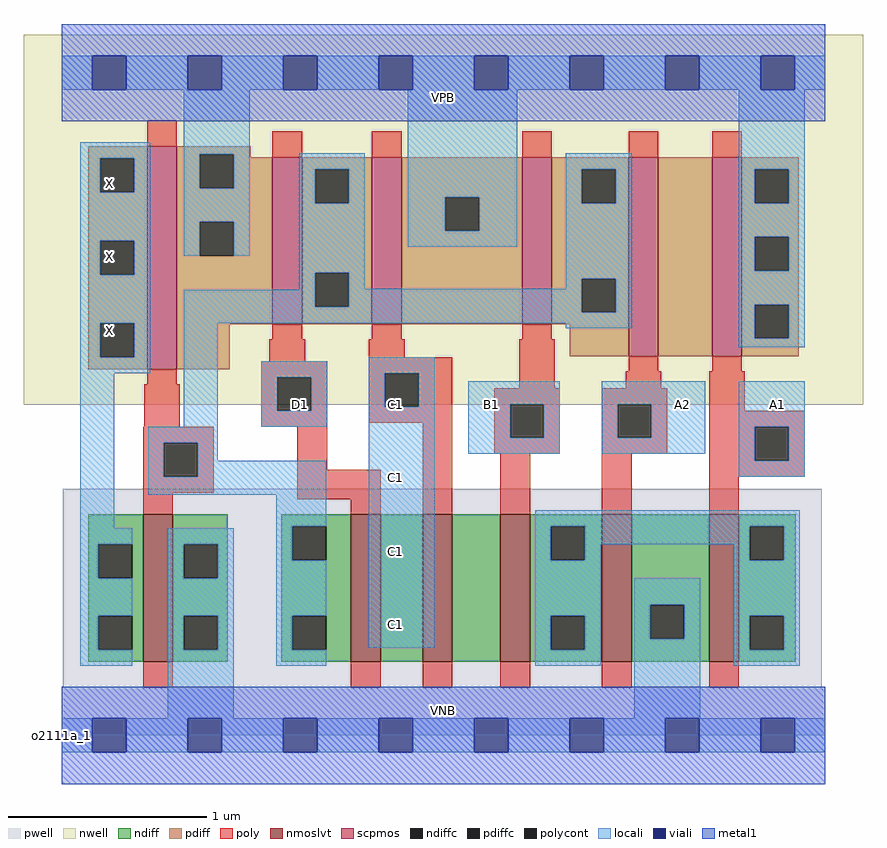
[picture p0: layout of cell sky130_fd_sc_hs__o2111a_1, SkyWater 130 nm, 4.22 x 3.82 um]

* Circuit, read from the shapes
.subckt sky130_fd_sc_hs__o2111a_1 A1 A2 B1 C1 D1 VGND VNB VPB VPWR X
XM1 VGND n1 X VNB sky130_fd_pr__nfet_01v8_lvt w=0.74 l=0.15
XM2 n2 D1 n1 VNB sky130_fd_pr__nfet_01v8_lvt w=0.74 l=0.15
XM3 n3 C1 n2 VNB sky130_fd_pr__nfet_01v8_lvt w=0.74 l=0.15
XM4 n4 B1 n3 VNB sky130_fd_pr__nfet_01v8_lvt w=0.74 l=0.15
XM5 VGND A2 n4 VNB sky130_fd_pr__nfet_01v8_lvt w=0.74 l=0.15
XM6 n4 A1 VGND VNB sky130_fd_pr__nfet_01v8_lvt w=0.74 l=0.15
XM7 VPWR n1 X VPB sky130_fd_pr__pfet_01v8 w=1.12 l=0.15
XM8 n1 D1 VPWR VPB sky130_fd_pr__pfet_01v8 w=0.84 l=0.15
XM9 VPWR C1 n1 VPB sky130_fd_pr__pfet_01v8 w=0.84 l=0.15
XM10 n1 B1 VPWR VPB sky130_fd_pr__pfet_01v8 w=0.84 l=0.15
XM11 n5 A2 n1 VPB sky130_fd_pr__pfet_01v8 w=1 l=0.15
XM12 VPWR A1 n5 VPB sky130_fd_pr__pfet_01v8 w=1 l=0.15
.ends

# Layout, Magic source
magic
tech sky130A
magscale 1 2
<< nwell >>
rect -38 332 806 704
<< pwell >>
rect 1 49 764 248
rect 0 0 768 49
<< scpmos >>
rect 86 368 116 592
rect 212 413 242 581
rect 312 413 342 581
rect 463 413 493 581
rect 570 381 600 581
rect 654 381 684 581
<< nmoslvt >>
rect 82 74 112 222
rect 291 74 321 222
rect 363 74 393 222
rect 441 74 471 222
rect 543 74 573 222
rect 651 74 681 222
<< ndiff >>
rect 27 192 82 222
rect 27 158 37 192
rect 71 158 82 192
rect 27 120 82 158
rect 27 86 37 120
rect 71 86 82 120
rect 27 74 82 86
rect 112 192 167 222
rect 112 158 123 192
rect 157 158 167 192
rect 112 120 167 158
rect 112 86 123 120
rect 157 86 167 120
rect 112 74 167 86
rect 221 210 291 222
rect 221 176 232 210
rect 266 176 291 210
rect 221 120 291 176
rect 221 86 232 120
rect 266 86 291 120
rect 221 74 291 86
rect 321 74 363 222
rect 393 74 441 222
rect 471 210 543 222
rect 471 176 492 210
rect 526 176 543 210
rect 471 120 543 176
rect 471 86 492 120
rect 526 86 543 120
rect 471 74 543 86
rect 573 131 651 222
rect 573 97 592 131
rect 626 97 651 131
rect 573 74 651 97
rect 681 210 738 222
rect 681 176 692 210
rect 726 176 738 210
rect 681 120 738 176
rect 681 86 692 120
rect 726 86 738 120
rect 681 74 738 86
<< pdiff >>
rect 27 580 86 592
rect 27 546 39 580
rect 73 546 86 580
rect 27 497 86 546
rect 27 463 39 497
rect 73 463 86 497
rect 27 414 86 463
rect 27 380 39 414
rect 73 380 86 414
rect 27 368 86 380
rect 116 584 190 592
rect 116 550 139 584
rect 173 581 190 584
rect 173 550 212 581
rect 116 516 212 550
rect 116 482 139 516
rect 173 482 212 516
rect 116 413 212 482
rect 242 569 312 581
rect 242 535 255 569
rect 289 535 312 569
rect 242 465 312 535
rect 242 431 255 465
rect 289 431 312 465
rect 242 413 312 431
rect 342 541 463 581
rect 342 507 386 541
rect 420 507 463 541
rect 342 413 463 507
rect 493 569 570 581
rect 493 535 523 569
rect 557 535 570 569
rect 493 459 570 535
rect 493 425 523 459
rect 557 425 570 459
rect 493 413 570 425
rect 116 368 169 413
rect 511 381 570 413
rect 600 381 654 581
rect 684 569 741 581
rect 684 535 697 569
rect 731 535 741 569
rect 684 501 741 535
rect 684 467 697 501
rect 731 467 741 501
rect 684 433 741 467
rect 684 399 697 433
rect 731 399 741 433
rect 684 381 741 399
<< ndiffc >>
rect 37 158 71 192
rect 37 86 71 120
rect 123 158 157 192
rect 123 86 157 120
rect 232 176 266 210
rect 232 86 266 120
rect 492 176 526 210
rect 492 86 526 120
rect 592 97 626 131
rect 692 176 726 210
rect 692 86 726 120
<< pdiffc >>
rect 39 546 73 580
rect 39 463 73 497
rect 39 380 73 414
rect 139 550 173 584
rect 139 482 173 516
rect 255 535 289 569
rect 255 431 289 465
rect 386 507 420 541
rect 523 535 557 569
rect 523 425 557 459
rect 697 535 731 569
rect 697 467 731 501
rect 697 399 731 433
<< poly >>
rect 86 592 116 618
rect 212 581 242 607
rect 312 581 342 607
rect 463 581 493 607
rect 570 581 600 607
rect 654 581 684 607
rect 212 398 242 413
rect 312 398 342 413
rect 463 398 493 413
rect 209 376 245 398
rect 309 380 345 398
rect 86 353 116 368
rect 201 360 267 376
rect 83 310 119 353
rect 201 326 217 360
rect 251 326 267 360
rect 201 310 267 326
rect 309 364 393 380
rect 309 330 325 364
rect 359 330 393 364
rect 460 349 496 398
rect 570 366 600 381
rect 654 366 684 381
rect 567 349 603 366
rect 309 314 393 330
rect 82 294 153 310
rect 82 260 103 294
rect 137 260 153 294
rect 82 244 153 260
rect 237 267 267 310
rect 82 222 112 244
rect 237 237 321 267
rect 291 222 321 237
rect 363 222 393 314
rect 435 333 501 349
rect 435 299 451 333
rect 485 299 501 333
rect 435 283 501 299
rect 543 333 609 349
rect 543 299 559 333
rect 593 299 609 333
rect 543 283 609 299
rect 651 326 687 366
rect 651 310 747 326
rect 441 222 471 283
rect 543 222 573 283
rect 651 276 697 310
rect 731 276 747 310
rect 651 260 747 276
rect 651 222 681 260
rect 82 48 112 74
rect 291 48 321 74
rect 363 48 393 74
rect 441 48 471 74
rect 543 48 573 74
rect 651 48 681 74
<< polycont >>
rect 217 326 251 360
rect 325 330 359 364
rect 103 260 137 294
rect 451 299 485 333
rect 559 299 593 333
rect 697 276 731 310
<< locali >>
rect 0 649 31 683
rect 65 649 127 683
rect 161 649 223 683
rect 257 649 319 683
rect 353 649 415 683
rect 449 649 511 683
rect 545 649 607 683
rect 641 649 703 683
rect 737 649 768 683
rect 19 580 89 596
rect 19 546 39 580
rect 73 546 89 580
rect 19 497 89 546
rect 19 463 39 497
rect 73 463 89 497
rect 123 584 189 649
rect 123 550 139 584
rect 173 550 189 584
rect 123 516 189 550
rect 123 482 139 516
rect 173 482 189 516
rect 239 569 305 585
rect 239 535 255 569
rect 289 535 305 569
rect 19 414 89 463
rect 239 465 305 535
rect 348 541 458 649
rect 348 507 386 541
rect 420 507 458 541
rect 348 491 458 507
rect 507 569 573 585
rect 507 535 523 569
rect 557 535 573 569
rect 239 448 255 465
rect 19 380 39 414
rect 73 380 89 414
rect 19 364 89 380
rect 123 431 255 448
rect 289 449 305 465
rect 507 459 573 535
rect 507 449 523 459
rect 289 431 523 449
rect 123 425 523 431
rect 557 425 573 459
rect 123 414 573 425
rect 19 208 53 364
rect 123 310 157 414
rect 507 409 573 414
rect 681 569 747 649
rect 681 535 697 569
rect 731 535 747 569
rect 681 501 747 535
rect 681 467 697 501
rect 731 467 747 501
rect 681 433 747 467
rect 681 399 697 433
rect 731 399 747 433
rect 681 390 747 399
rect 201 360 267 376
rect 201 326 217 360
rect 251 326 267 360
rect 201 310 267 326
rect 309 364 375 380
rect 309 330 325 364
rect 359 330 375 364
rect 87 294 157 310
rect 87 260 103 294
rect 137 276 157 294
rect 137 260 266 276
rect 87 242 266 260
rect 216 210 266 242
rect 19 192 71 208
rect 19 158 37 192
rect 19 120 71 158
rect 19 86 37 120
rect 19 70 71 86
rect 107 192 173 208
rect 107 158 123 192
rect 157 158 173 192
rect 107 120 173 158
rect 107 86 123 120
rect 157 86 173 120
rect 107 17 173 86
rect 216 176 232 210
rect 216 120 266 176
rect 216 86 232 120
rect 309 88 375 330
rect 409 333 501 356
rect 409 299 451 333
rect 485 299 501 333
rect 409 283 501 299
rect 543 333 647 356
rect 543 299 559 333
rect 593 299 647 333
rect 543 283 647 299
rect 681 310 747 356
rect 681 276 697 310
rect 731 276 747 310
rect 681 260 747 276
rect 476 210 742 226
rect 476 176 492 210
rect 526 192 692 210
rect 526 176 542 192
rect 476 120 542 176
rect 676 176 692 192
rect 726 176 742 210
rect 216 70 266 86
rect 476 86 492 120
rect 526 86 542 120
rect 476 70 542 86
rect 576 131 642 158
rect 576 97 592 131
rect 626 97 642 131
rect 576 17 642 97
rect 676 120 742 176
rect 676 86 692 120
rect 726 86 742 120
rect 676 70 742 86
rect 0 -17 31 17
rect 65 -17 127 17
rect 161 -17 223 17
rect 257 -17 319 17
rect 353 -17 415 17
rect 449 -17 511 17
rect 545 -17 607 17
rect 641 -17 703 17
rect 737 -17 768 17
<< viali >>
rect 31 649 65 683
rect 127 649 161 683
rect 223 649 257 683
rect 319 649 353 683
rect 415 649 449 683
rect 511 649 545 683
rect 607 649 641 683
rect 703 649 737 683
rect 31 -17 65 17
rect 127 -17 161 17
rect 223 -17 257 17
rect 319 -17 353 17
rect 415 -17 449 17
rect 511 -17 545 17
rect 607 -17 641 17
rect 703 -17 737 17
<< metal1 >>
rect 0 683 768 715
rect 0 649 31 683
rect 65 649 127 683
rect 161 649 223 683
rect 257 649 319 683
rect 353 649 415 683
rect 449 649 511 683
rect 545 649 607 683
rect 641 649 703 683
rect 737 649 768 683
rect 0 617 768 649
rect 0 17 768 49
rect 0 -17 31 17
rect 65 -17 127 17
rect 161 -17 223 17
rect 257 -17 319 17
rect 353 -17 415 17
rect 449 -17 511 17
rect 545 -17 607 17
rect 641 -17 703 17
rect 737 -17 768 17
rect 0 -49 768 -17
<< labels >>
rlabel comment s 0 0 0 0 4 o2111a_1
flabel pwell s 0 0 768 49 0 FreeSans 200 0 0 0 VNB
port 7 nsew ground bidirectional
flabel nwell s 0 617 768 666 0 FreeSans 200 0 0 0 VPB
port 8 nsew power bidirectional
flabel metal1 s 0 617 768 666 0 FreeSans 340 0 0 0 VPWR
port 9 nsew power bidirectional
flabel metal1 s 0 0 768 49 0 FreeSans 340 0 0 0 VGND
port 6 nsew ground bidirectional
flabel locali s 703 316 737 350 0 FreeSans 340 0 0 0 A1
port 1 nsew signal input
flabel locali s 607 316 641 350 0 FreeSans 340 0 0 0 A2
port 2 nsew signal input
flabel locali s 415 316 449 350 0 FreeSans 340 0 0 0 B1
port 3 nsew signal input
flabel locali s 319 94 353 128 0 FreeSans 340 0 0 0 C1
port 4 nsew signal input
flabel locali s 319 168 353 202 0 FreeSans 340 0 0 0 C1
port 4 nsew signal input
flabel locali s 319 242 353 276 0 FreeSans 340 0 0 0 C1
port 4 nsew signal input
flabel locali s 319 316 353 350 0 FreeSans 340 0 0 0 C1
port 4 nsew signal input
flabel locali s 223 316 257 350 0 FreeSans 340 0 0 0 D1
port 5 nsew signal input
flabel locali s 31 390 65 424 0 FreeSans 340 0 0 0 X
port 10 nsew signal output
flabel locali s 31 464 65 498 0 FreeSans 340 0 0 0 X
port 10 nsew signal output
flabel locali s 31 538 65 572 0 FreeSans 340 0 0 0 X
port 10 nsew signal output
<< properties >>
string LEFsite unit
string LEFclass CORE
string FIXED_BBOX 0 0 768 666
string GDS_FILE $PDKPATH/libs.ref/sky130_fd_sc_hs/gds/sky130_fd_sc_hs.gds
string LEFsymmetry X Y
string GDS_END 2391150
string GDS_START 2383350
<< end >>
